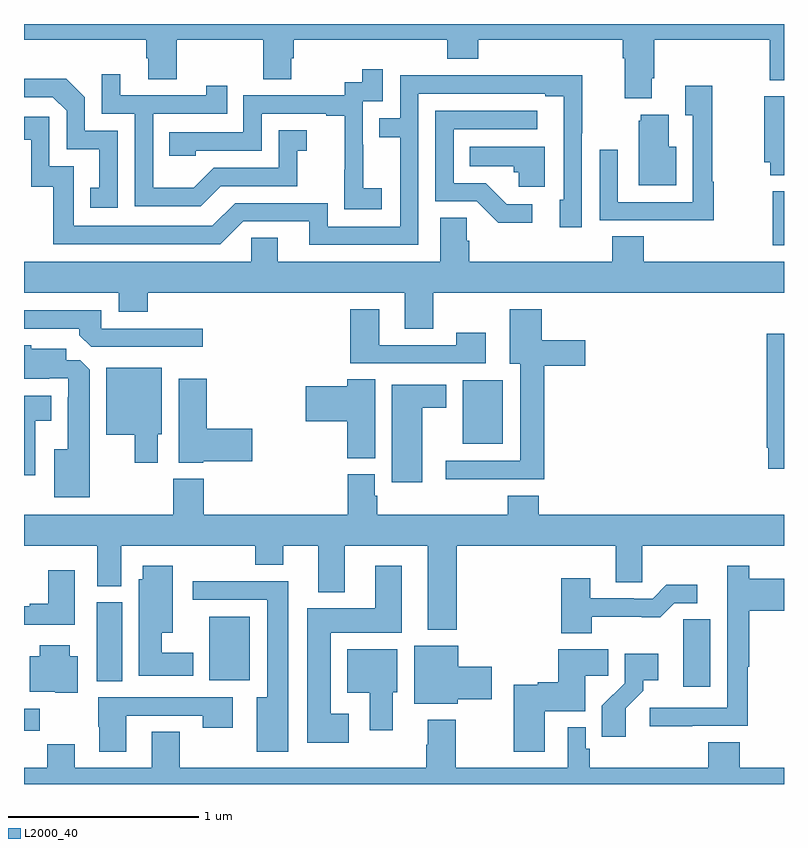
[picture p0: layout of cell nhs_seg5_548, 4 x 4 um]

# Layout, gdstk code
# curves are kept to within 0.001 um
import gdstk
lib = gdstk.Library(unit=1e-6, precision=1e-09)
def R(c, l, rs):  # rectangles x0, y0, x1, y1
    for r in rs: c.add(gdstk.rectangle(r[:2], r[2:], *l))
def P(c, l, *ps):  # polygons
    for p in ps: c.add(gdstk.Polygon(p, *l))
L2000_40 = (2000, 40)

nhs_seg5_548 = lib.new_cell('nhs_seg5_548')
R(nhs_seg5_548, L2000_40, [(145,897.078,145.082,897.196), (145.382,897.34,145.516,897.756), (145.976,897.344,146.188,897.679), (147.308,898.589,147.52,898.924), (148.942,899.634,149,899.919)])
P(nhs_seg5_548, L2000_40, [(148.303,900.514),(148.316,900.514),(148.316,900.716),(148.925,900.716),(148.925,900.503),(149,900.503),(149,900.799),(145,900.799),(145,900.716),(145.643,900.716),(145.643,900.618),(145.655,900.618),(145.655,900.508),(145.803,900.508),(145.803,900.716),(146.26,900.716),(146.26,900.508),(146.407,900.508),(146.407,900.618),(146.42,900.618),(146.42,900.716),(147.227,900.716),(147.227,900.617),(147.392,900.617),(147.392,900.716),(148.151,900.716),(148.151,900.62),(148.163,900.62),(148.163,900.407),(148.303,900.407)],
  [(146.884,899.935),(146.786,899.935),(146.786,900.164),(146.784,900.164),(146.784,900.393),(146.889,900.393),(146.889,900.562),(146.781,900.562),(146.781,900.492),(146.688,900.492),(146.688,900.423),(146.154,900.423),(146.154,900.228),(145.765,900.228),(145.765,900.105),(145.905,900.105),(145.905,900.132),(146.25,900.132),(146.25,900.327),(146.591,900.327),(146.591,900.315),(146.687,900.315),(146.687,900.031),(146.686,900.031),(146.686,899.825),(146.884,899.825)],
  [(146.035,899.946),(146.439,899.946),(146.439,900.131),(146.488,900.131),(146.488,900.241),(146.34,900.241),(146.34,900.042),(145.998,900.042),(145.894,899.938),(145.68,899.938),(145.68,900.327),(146.069,900.327),(146.069,900.475),(145.958,900.475),(145.958,900.423),(145.507,900.423),(145.507,900.535),(145.41,900.535),(145.41,900.327),(145.584,900.327),(145.584,899.841),(145.93,899.841)],
  [(147.075,900.432),(147.743,900.432),(147.743,900.42),(147.84,900.42),(147.84,899.874),(147.821,899.874),(147.821,899.73),(147.936,899.73),(147.936,900.223),(147.939,900.223),(147.939,900.53),(147.475,900.53),(147.475,900.528),(146.979,900.528),(146.979,900.303),(146.869,900.303),(146.869,900.202),(146.979,900.202),(146.979,899.733),(146.598,899.733),(146.598,899.856),(146.112,899.856),(145.992,899.736),(145.263,899.736),(145.263,900.051),(145.134,900.051),(145.134,900.31),(145,900.31),(145,900.189),(145.037,900.189),(145.037,899.943),(145.155,899.943),(145.155,899.64),(146.034,899.64),(146.154,899.76),(146.501,899.76),(146.501,899.637),(147.075,899.637)],
  [(145.494,900.237),(145.32,900.237),(145.32,900.414),(145.222,900.512),(145,900.512),(145,900.414),(145.152,900.414),(145.224,900.342),(145.224,900.141),(145.397,900.141),(145.397,899.937),(145.348,899.937),(145.348,899.832),(145.494,899.832)],
  [(148.63,899.969),(148.622,899.969),(148.622,900.475),(148.481,900.475),(148.481,900.319),(148.521,900.319),(148.521,899.862),(148.125,899.862),(148.125,900.136),(148.029,900.136),(148.029,899.766),(148.345,899.766),(148.345,899.765),(148.63,899.765)],
  [(149,900.418),(148.895,900.418),(148.895,900.071),(148.927,900.071),(148.927,900.004),(149,900.004)],
  [(147.676,899.85),(147.541,899.85),(147.43,899.961),(147.261,899.961),(147.261,900.246),(147.7,900.246),(147.7,900.342),(147.165,900.342),(147.165,899.865),(147.384,899.865),(147.497,899.753),(147.676,899.753)],
  [(148.432,900.154),(148.393,900.154),(148.393,900.322),(148.247,900.322),(148.247,900.291),(148.235,900.291),(148.235,899.951),(148.432,899.951)],
  [(147.742,900.154),(147.346,900.154),(147.346,900.05),(147.577,900.05),(147.577,900.018),(147.603,900.018),(147.603,899.942),(147.742,899.942)],
  [(147.153,899.384),(149,899.384),(149,899.548),(148.262,899.548),(148.262,899.681),(148.097,899.681),(148.097,899.548),(147.344,899.548),(147.344,899.657),(147.33,899.657),(147.33,899.78),(147.191,899.78),(147.191,899.548),(146.335,899.548),(146.335,899.675),(146.196,899.675),(146.196,899.548),(145,899.548),(145,899.384),(145.499,899.384),(145.499,899.285),(145.652,899.285),(145.652,899.384),(147.005,899.384),(147.005,899.194),(147.153,899.194)],
  [(147.737,899),(147.955,899),(147.955,899.134),(147.724,899.134),(147.724,899.299),(147.557,899.299),(147.557,899.012),(147.611,899.012),(147.611,898.5),(147.219,898.5),(147.219,898.403),(147.737,898.403)],
  [(147.43,899.173),(147.274,899.173),(147.274,899.109),(146.869,899.109),(146.869,899.299),(146.717,899.299),(146.717,899.013),(147.43,899.013)],
  [(145.942,899.196),(145.407,899.196),(145.407,899.292),(145,899.292),(145,899.196),(145.292,899.196),(145.292,899.162),(145.353,899.1),(145.942,899.1)],
  [(149,899.168),(148.909,899.168),(148.909,898.57),(148.917,898.57),(148.917,898.458),(149,898.458)],
  [(145.345,898.979),(145.296,899.028),(145.222,899.028),(145.222,899.089),(145.038,899.089),(145.038,899.107),(145,899.107),(145,898.931),(145.133,898.931),(145.133,898.935),(145.233,898.935),(145.233,898.835),(145.229,898.835),(145.229,898.561),(145.16,898.561),(145.16,898.307),(145.345,898.307)],
  [(145.705,898.641),(145.726,898.641),(145.726,898.99),(145.433,898.99),(145.433,898.637),(145.583,898.637),(145.583,898.491),(145.705,898.491)],
  [(145.944,898.499),(146.2,898.499),(146.2,898.67),(145.961,898.67),(145.961,898.933),(145.814,898.933),(145.814,898.49),(145.944,898.49)],
  [(146.848,898.928),(146.702,898.928),(146.702,898.892),(146.484,898.892),(146.484,898.709),(146.702,898.709),(146.702,898.513),(146.848,898.513)],
  [(147.097,898.778),(147.223,898.778),(147.223,898.9),(146.936,898.9),(146.936,898.388),(147.097,898.388)],
  [(145.06,898.712),(145.144,898.712),(145.144,898.843),(145,898.843),(145,898.425),(145.06,898.425)],
  [(147.278,898.052),(148.115,898.052),(148.115,897.862),(148.254,897.862),(148.254,898.052),(149,898.052),(149,898.216),(147.71,898.216),(147.71,898.315),(147.545,898.315),(147.545,898.216),(146.858,898.216),(146.858,898.317),(146.845,898.317),(146.845,898.428),(146.705,898.428),(146.705,898.216),(145.946,898.216),(145.946,898.405),(145.786,898.405),(145.786,898.216),(145,898.216),(145,898.052),(145.385,898.052),(145.385,897.841),(145.513,897.841),(145.513,898.052),(146.218,898.052),(146.218,897.953),(146.365,897.953),(146.365,898.052),(146.549,898.052),(146.549,897.809),(146.689,897.809),(146.689,898.052),(147.125,898.052),(147.125,897.611),(147.278,897.611)],
  [(146.71,897.169),(146.614,897.169),(146.614,897.596),(146.989,897.596),(146.989,897.949),(146.849,897.949),(146.849,897.724),(146.492,897.724),(146.492,897.017),(146.71,897.017)],
  [(148.517,897.105),(148.81,897.105),(148.81,897.417),(148.817,897.417),(148.817,897.71),(149,897.71),(149,897.88),(148.817,897.88),(148.817,897.949),(148.7,897.949),(148.7,897.726),(148.701,897.726),(148.701,897.201),(148.293,897.201),(148.293,897.103),(148.517,897.103)],
  [(145.891,897.49),(145.726,897.49),(145.726,897.596),(145.783,897.596),(145.783,897.949),(145.625,897.949),(145.625,897.876),(145.604,897.876),(145.604,897.368),(145.891,897.368)],
  [(145.267,897.925),(145.127,897.925),(145.127,897.748),(145.031,897.748),(145.031,897.735),(145,897.735),(145,897.638),(145.267,897.638)],
  [(147.987,897.678),(148.349,897.677),(148.422,897.75),(148.543,897.75),(148.543,897.847),(148.381,897.847),(148.308,897.774),(148.208,897.774),(148.208,897.777),(147.979,897.777),(147.979,897.883),(147.827,897.883),(147.827,897.593),(147.987,897.593)],
  [(146.392,897.866),(145.887,897.866),(145.887,897.768),(146.279,897.768),(146.279,897.256),(146.225,897.256),(146.225,896.97),(146.392,896.97)],
  [(148.612,897.665),(148.47,897.665),(148.47,897.554),(148.469,897.554),(148.469,897.312),(148.612,897.312)],
  [(145.282,897.472),(145.24,897.472),(145.24,897.529),(145.082,897.529),(145.082,897.472),(145.031,897.472),(145.031,897.284),(145.164,897.284),(145.164,897.278),(145.282,897.278)],
  [(147.282,897.245),(147.463,897.245),(147.463,897.416),(147.286,897.416),(147.286,897.526),(147.053,897.526),(147.053,897.221),(147.282,897.221)],
  [(147.742,897.182),(147.955,897.182),(147.955,897.37),(148.076,897.37),(148.076,897.508),(147.811,897.508),(147.811,897.335),(147.705,897.335),(147.705,897.322),(147.577,897.322),(147.577,896.97),(147.742,896.97)],
  [(146.941,897.282),(146.965,897.282),(146.965,897.508),(146.702,897.508),(146.702,897.278),(146.819,897.278),(146.819,897.081),(146.941,897.081)],
  [(148.168,897.199),(148.258,897.289),(148.258,897.344),(148.339,897.344),(148.339,897.484),(148.161,897.484),(148.161,897.329),(148.042,897.21),(148.042,897.048),(148.168,897.048)],
  [(145.537,897.159),(145.942,897.159),(145.942,897.096),(146.098,897.096),(146.098,897.255),(145.39,897.255),(145.39,897.1),(145.397,897.1),(145.397,896.97),(145.537,896.97)],
  [(149,896.884),(148.766,896.884),(148.766,897.02),(148.601,897.02),(148.601,896.884),(147.977,896.884),(147.977,896.985),(147.957,896.985),(147.957,897.097),(147.861,897.097),(147.861,896.884),(147.273,896.884),(147.273,897.136),(147.125,897.136),(147.125,897.005),(147.118,897.005),(147.118,896.884),(145.821,896.884),(145.821,897.074),(145.673,897.074),(145.673,896.884),(145.267,896.884),(145.267,897.008),(145.123,897.008),(145.123,896.884),(145,896.884),(145,896.799),(149,896.799)])

lib.write_gds('nhs_seg5_548.gds')
